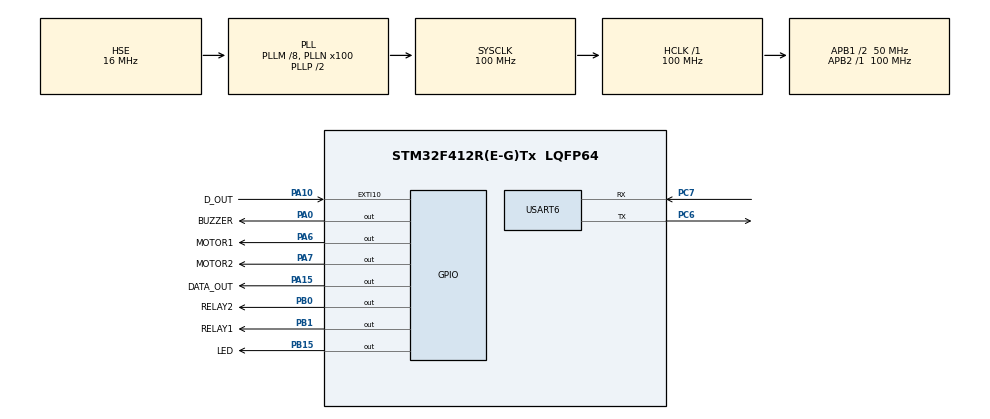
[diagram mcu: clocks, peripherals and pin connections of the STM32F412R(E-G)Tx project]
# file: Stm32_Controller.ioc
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Dma.Request0=USART6_RX
Dma.USART6_RX.0.Direction=DMA_PERIPH_TO_MEMORY
Dma.USART6_RX.0.FIFOMode=DMA_FIFOMODE_DISABLE
Dma.USART6_RX.0.Instance=DMA2_Stream1
Dma.USART6_RX.0.MemDataAlignment=DMA_MDATAALIGN_BYTE
Dma.USART6_RX.0.MemInc=DMA_MINC_ENABLE
Dma.USART6_RX.0.Mode=DMA_CIRCULAR
Dma.USART6_RX.0.PeriphDataAlignment=DMA_PDATAALIGN_BYTE
Dma.USART6_RX.0.PeriphInc=DMA_PINC_DISABLE
Dma.USART6_RX.0.Priority=DMA_PRIORITY_LOW
FREERTOS.BinarySemaphores01=AlarmSemaphore,Dynamic,NULL,Available
FREERTOS.Queues01=ActuatorQueue,10,uint4_t,0,Dynamic,NULL,NULL
FREERTOS.Tasks01=Sensor_Task,24,256,StartDefaultTask,Default,NULL,Dynamic,NULL,NULL;Actuator_Task,24,128,StartTask02,Default,NULL,Dynamic,NULL,NULL;UART_Parse_Task,32,256,StartTask03,Default,NULL,Dynamic,NULL,NULL;Alarm_Task,48,128,StartTask04,Default,NULL,Dynamic,NULL,NULL
FREERTOS.Timers01=Timer_Heartbeat,Callback01,osTimerPeriodic,Default,NULL,Dynamic,NULL
FREERTOS.configUSE_NEWLIB_REENTRANT=1
Mcu.Family=STM32F4
Mcu.Name=STM32F412R(E-G)Tx
Mcu.Package=LQFP64
NVIC.DMA2_Stream1_IRQn=true\:5\:0\:false\:false\:true\:true\:false\:true\:true
NVIC.EXTI15_10_IRQn=true\:5\:0\:false\:false\:true\:true\:true\:true\:true
NVIC.PriorityGroup=NVIC_PRIORITYGROUP_4
NVIC.TIM1_UP_TIM10_IRQn=true\:15\:0\:false\:false\:true\:false\:false\:true\:true
NVIC.TimeBase=TIM1_UP_TIM10_IRQn
NVIC.TimeBaseIP=TIM10
NVIC.USART6_IRQn=true\:5\:0\:false\:false\:true\:true\:true\:true\:true
PA0.GPIO_Label=BUZZER
PA0.Signal=GPIO_Output
PA10.GPIO_Label=D_OUT
PA10.GPIO_ModeDefaultEXTI=GPIO_MODE_IT_FALLING
PA10.Signal=GPXTI10
PA13.Mode=Serial_Wire
PA13.Signal=SYS_JTMS-SWDIO
PA14.Mode=Serial_Wire
PA14.Signal=SYS_JTCK-SWCLK
PA15.GPIO_Label=DATA_OUT
PA15.GPIO_ModeDefaultOutputPP=GPIO_MODE_OUTPUT_OD
PA15.GPIO_PuPd=GPIO_NOPULL
PA15.PinState=GPIO_PIN_SET
PA15.Signal=GPIO_Output
PA6.GPIO_Label=MOTOR1
PA6.Signal=GPIO_Output
PA7.GPIO_Label=MOTOR2
PA7.Signal=GPIO_Output
PB0.GPIO_Label=RELAY2
PB0.Signal=GPIO_Output
PB1.GPIO_Label=RELAY1
PB1.Signal=GPIO_Output
PB15.GPIO_Label=LED
PB15.Signal=GPIO_Output
PC6.Mode=Asynchronous
PC6.Signal=USART6_TX
PC7.Mode=Asynchronous
PC7.Signal=USART6_RX
PH0\ -\ OSC_IN.Mode=HSE-External-Oscillator
PH0\ -\ OSC_IN.Signal=RCC_OSC_IN
PH1\ -\ OSC_OUT.Mode=HSE-External-Oscillator
PH1\ -\ OSC_OUT.Signal=RCC_OSC_OUT
ProjectManager.HeapSize=0x200
ProjectManager.StackSize=0x400
ProjectManager.TargetToolchain=STM32CubeIDE
RCC.AHBFreq_Value=100000000
RCC.APB1CLKDivider=RCC_HCLK_DIV2
RCC.APB1Freq_Value=50000000
RCC.APB1TimFreq_Value=100000000
RCC.APB2Freq_Value=100000000
RCC.APB2TimFreq_Value=100000000
RCC.CortexFreq_Value=100000000
RCC.HCLKFreq_Value=100000000
RCC.HSE_VALUE=16000000
RCC.PLLM=8
RCC.PLLN=100
RCC.PLLSourceVirtual=RCC_PLLSOURCE_HSE
RCC.SYSCLKFreq_VALUE=100000000
RCC.SYSCLKSource=RCC_SYSCLKSOURCE_PLLCLK
RCC.USBFreq_Value=100000000
RCC.VCOOutputFreq_Value=200000000
TIM3.Prescaler=100-1
USART6.VirtualMode=VM_ASYNC
VP_FREERTOS_VS_CMSIS_V2.Mode=CMSIS_V2
VP_SYS_VS_tim10.Mode=TIM10
VP_TIM3_VS_ClockSourceINT.Mode=Internal
board=custom

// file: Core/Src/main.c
/* USER CODE BEGIN Header */
/**
  ******************************************************************************
  * @file           : main.c
  * @brief          : Main program body
  ******************************************************************************
  * @attention
  *
  * Copyright (c) 2026 STMicroelectronics.
  * All rights reserved.
  *
  * This software is licensed under terms that can be found in the LICENSE file
  * in the root directory of this software component.
  * If no LICENSE file comes with this software, it is provided AS-IS.
  *
  ******************************************************************************
  */
/* USER CODE END Header */
#include "main.h"
#include "cmsis_os.h"

/* USER CODE BEGIN Includes */
#include <stdbool.h>
#include <string.h>
#include "dht22.h"
#include <stdlib.h>
#include <stdio.h>
#include "app_types.h"
#include "actuator.h"
#include "uart_protocol.h"
#include "app_tasks.h"
/* USER CODE END Includes */

TIM_HandleTypeDef htim3;

UART_HandleTypeDef huart6;
DMA_HandleTypeDef hdma_usart6_rx;

/* USER CODE BEGIN PV */
volatile uint16_t uart_rx_size = 0;
// Mượn Handle từ app_tasks.c để dùng trong các hàm ngắt
extern osSemaphoreId_t AlarmSemaphoreHandle;
extern osThreadId_t UART_Parse_TaskHandle;
/* USER CODE END PV */

void SystemClock_Config(void);
static void MX_GPIO_Init(void);
static void MX_DMA_Init(void);
static void MX_USART6_UART_Init(void);
static void MX_TIM3_Init(void);

int main(void)
{

  /* MCU Configuration--------------------------------------------------------*/

  /* Reset of all peripherals, Initializes the Flash interface and the Systick. */
  HAL_Init();

  /* Configure the system clock */
  SystemClock_Config();

  /* Initialize all configured peripherals */
  MX_GPIO_Init();
  MX_DMA_Init();
  MX_USART6_UART_Init();
  MX_TIM3_Init();
  /* USER CODE BEGIN 2 */
    HAL_TIM_Base_Start(&htim3);
  /* USER CODE END 2 */

  /* Init scheduler */
  osKernelInitialize();
  App_Init();

  /* Start scheduler */
  osKernelStart();

  /* We should never get here as control is now taken by the scheduler */

  /* Infinite loop */
  while (1)
  {

  }
}

void SystemClock_Config(void)
{
  RCC_OscInitTypeDef RCC_OscInitStruct = {0};
  RCC_ClkInitTypeDef RCC_ClkInitStruct = {0};

  /** Configure the main internal regulator output voltage
  */
  __HAL_RCC_PWR_CLK_ENABLE();
  __HAL_PWR_VOLTAGESCALING_CONFIG(PWR_REGULATOR_VOLTAGE_SCALE1);

  /** Initializes the RCC Oscillators according to the specified parameters
  * in the RCC_OscInitTypeDef structure.
  */
  RCC_OscInitStruct.OscillatorType = RCC_OSCILLATORTYPE_HSE;
  RCC_OscInitStruct.HSEState = RCC_HSE_ON;
  RCC_OscInitStruct.PLL.PLLState = RCC_PLL_ON;
  RCC_OscInitStruct.PLL.PLLSource = RCC_PLLSOURCE_HSE;
  RCC_OscInitStruct.PLL.PLLM = 8;
  RCC_OscInitStruct.PLL.PLLN = 100;
  RCC_OscInitStruct.PLL.PLLP = RCC_PLLP_DIV2;
  RCC_OscInitStruct.PLL.PLLQ = 2;
  RCC_OscInitStruct.PLL.PLLR = 2;
  if (HAL_RCC_OscConfig(&RCC_OscInitStruct) != HAL_OK)
  {
    Error_Handler();
  }

  /** Initializes the CPU, AHB and APB buses clocks
  */
  RCC_ClkInitStruct.ClockType = RCC_CLOCKTYPE_HCLK|RCC_CLOCKTYPE_SYSCLK
                              |RCC_CLOCKTYPE_PCLK1|RCC_CLOCKTYPE_PCLK2;
  RCC_ClkInitStruct.SYSCLKSource = RCC_SYSCLKSOURCE_PLLCLK;
  RCC_ClkInitStruct.AHBCLKDivider = RCC_SYSCLK_DIV1;
  RCC_ClkInitStruct.APB1CLKDivider = RCC_HCLK_DIV2;
  RCC_ClkInitStruct.APB2CLKDivider = RCC_HCLK_DIV1;

  if (HAL_RCC_ClockConfig(&RCC_ClkInitStruct, FLASH_LATENCY_3) != HAL_OK)
  {
    Error_Handler();
  }
}

static void MX_TIM3_Init(void)
{

  TIM_ClockConfigTypeDef sClockSourceConfig = {0};
  TIM_MasterConfigTypeDef sMasterConfig = {0};

  htim3.Instance = TIM3;
  htim3.Init.Prescaler = 100-1;
  htim3.Init.CounterMode = TIM_COUNTERMODE_UP;
  htim3.Init.Period = 65535;
  htim3.Init.ClockDivision = TIM_CLOCKDIVISION_DIV1;
  htim3.Init.AutoReloadPreload = TIM_AUTORELOAD_PRELOAD_DISABLE;
  if (HAL_TIM_Base_Init(&htim3) != HAL_OK)
  {
    Error_Handler();
  }
  sClockSourceConfig.ClockSource = TIM_CLOCKSOURCE_INTERNAL;
  if (HAL_TIM_ConfigClockSource(&htim3, &sClockSourceConfig) != HAL_OK)
  {
    Error_Handler();
  }
  sMasterConfig.MasterOutputTrigger = TIM_TRGO_RESET;
  sMasterConfig.MasterSlaveMode = TIM_MASTERSLAVEMODE_DISABLE;
  if (HAL_TIMEx_MasterConfigSynchronization(&htim3, &sMasterConfig) != HAL_OK)
  {
    Error_Handler();
  }

}

static void MX_USART6_UART_Init(void)
{

  huart6.Instance = USART6;
  huart6.Init.BaudRate = 115200;
  huart6.Init.WordLength = UART_WORDLENGTH_8B;
  huart6.Init.StopBits = UART_STOPBITS_1;
  huart6.Init.Parity = UART_PARITY_NONE;
  huart6.Init.Mode = UART_MODE_TX_RX;
  huart6.Init.HwFlowCtl = UART_HWCONTROL_NONE;
  huart6.Init.OverSampling = UART_OVERSAMPLING_16;
  if (HAL_UART_Init(&huart6) != HAL_OK)
  {
    Error_Handler();
  }

}

static void MX_DMA_Init(void)
{

  /* DMA controller clock enable */
  __HAL_RCC_DMA2_CLK_ENABLE();

  /* DMA interrupt init */
  /* DMA2_Stream1_IRQn interrupt configuration */
  HAL_NVIC_SetPriority(DMA2_Stream1_IRQn, 5, 0);
  HAL_NVIC_EnableIRQ(DMA2_Stream1_IRQn);

}

static void MX_GPIO_Init(void)
{
  GPIO_InitTypeDef GPIO_InitStruct = {0};

  /* GPIO Ports Clock Enable */
  __HAL_RCC_GPIOH_CLK_ENABLE();
  __HAL_RCC_GPIOA_CLK_ENABLE();
  __HAL_RCC_GPIOB_CLK_ENABLE();
  __HAL_RCC_GPIOC_CLK_ENABLE();

  /*Configure GPIO pin Output Level */
  HAL_GPIO_WritePin(GPIOA, BUZZER_Pin, GPIO_PIN_RESET);
  HAL_GPIO_WritePin(GPIOA, MOTOR1_Pin | MOTOR2_Pin, GPIO_PIN_SET);

  /*Configure GPIO pin Output Level */
  HAL_GPIO_WritePin(GPIOB, RELAY2_Pin|RELAY1_Pin, GPIO_PIN_RESET);

  /*Configure GPIO pin Output Level */
  HAL_GPIO_WritePin(DATA_OUT_GPIO_Port, DATA_OUT_Pin, GPIO_PIN_SET);

  /*Configure GPIO pins : BUZZER_Pin MOTOR1_Pin MOTOR2_Pin */
  GPIO_InitStruct.Pin = BUZZER_Pin|MOTOR1_Pin|MOTOR2_Pin;
  GPIO_InitStruct.Mode = GPIO_MODE_OUTPUT_PP;
  GPIO_InitStruct.Pull = GPIO_NOPULL;
  GPIO_InitStruct.Speed = GPIO_SPEED_FREQ_LOW;
  HAL_GPIO_Init(GPIOA, &GPIO_InitStruct);

  /*Configure GPIO pins : RELAY2_Pin RELAY1_Pin*/
  GPIO_InitStruct.Pin = RELAY2_Pin|RELAY1_Pin;
  GPIO_InitStruct.Mode = GPIO_MODE_OUTPUT_PP;
  GPIO_InitStruct.Pull = GPIO_NOPULL;
  GPIO_InitStruct.Speed = GPIO_SPEED_FREQ_LOW;
  HAL_GPIO_Init(GPIOB, &GPIO_InitStruct);

  /*Configure GPIO pin : D_OUT_Pin */
  GPIO_InitStruct.Pin = D_OUT_Pin;
  GPIO_InitStruct.Mode = GPIO_MODE_IT_FALLING;
  GPIO_InitStruct.Pull = GPIO_NOPULL;
  HAL_GPIO_Init(D_OUT_GPIO_Port, &GPIO_InitStruct);

  /*Configure GPIO pin : DATA_OUT_Pin */
  GPIO_InitStruct.Pin = DATA_OUT_Pin;
  GPIO_InitStruct.Mode = GPIO_MODE_OUTPUT_OD;
  GPIO_InitStruct.Pull = GPIO_NOPULL;
  GPIO_InitStruct.Speed = GPIO_SPEED_FREQ_LOW;
  HAL_GPIO_Init(DATA_OUT_GPIO_Port, &GPIO_InitStruct);

  /* EXTI interrupt init*/
  HAL_NVIC_SetPriority(EXTI15_10_IRQn, 5, 0);
  HAL_NVIC_EnableIRQ(EXTI15_10_IRQn);

}

/* USER CODE BEGIN 4 */
/**
  * @brief  EXTI line detection callbacks.
  * @param  GPIO_Pin: Specifies the pins connected EXTI line
  * @retval None
  */
void HAL_GPIO_EXTI_Callback(uint16_t GPIO_Pin)
{
  // Kiểm tra xem có đúng là ngắt từ chân MQ-2 (PA10) không
  if(GPIO_Pin == D_OUT_Pin)
  {
    // Bắn tín hiệu Semaphore đánh thức Task_Alarm
    // Ưu điểm của CMSIS_V2: osSemaphoreRelease tự động xử lý an toàn trong môi trường ngắt
    osSemaphoreRelease(AlarmSemaphoreHandle);
  }
}

void HAL_UARTEx_RxEventCallback(UART_HandleTypeDef *huart, uint16_t Size)
{
    if (huart->Instance == USART6)
    {
        // Gói tin từ ESP32 đã đến trọn vẹn.
    	// Lưu lại chính xác số byte phần cứng vừa hứng được
    	        uart_rx_size = Size;
		// Bắn Cờ hiệu (Thread Flag 0x01) để đánh thức Task03 dậy xử lý Buffer
        osThreadFlagsSet(UART_Parse_TaskHandle, 0x01);
    }
}

/**
 * @brief Parse JSON tĩnh không dùng cấp phát động (Zero-Allocation)
 * @param json_str Con trỏ trỏ tới buffer chứa chuỗi JSON
 * @return bool True nếu bóc tách thành công ít nhất 1 lệnh
 */
bool Parse_And_Queue_JSON(const char* json_str);

/* USER CODE END 4 */

void HAL_TIM_PeriodElapsedCallback(TIM_HandleTypeDef *htim)
{
  if (htim->Instance == TIM10)
  {
    HAL_IncTick();
  }
}

void Error_Handler(void)
{
  __disable_irq();
  while (1)
  {
  }
}
